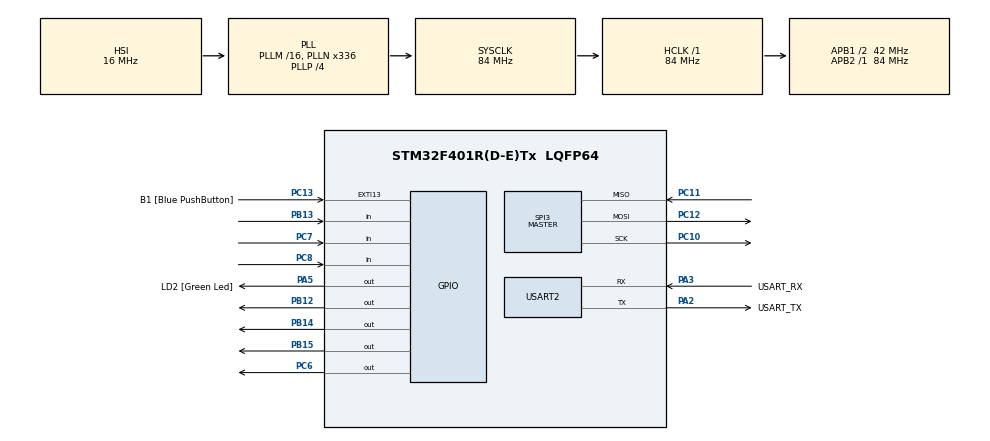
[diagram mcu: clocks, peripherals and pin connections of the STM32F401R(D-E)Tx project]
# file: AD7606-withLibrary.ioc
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Mcu.Family=STM32F4
Mcu.Name=STM32F401R(D-E)Tx
Mcu.Package=LQFP64
NVIC.EXTI15_10_IRQn=true\:0\:0\:false\:false\:true\:true\:true\:true
NVIC.PriorityGroup=NVIC_PRIORITYGROUP_0
NVIC.SPI3_IRQn=true\:0\:0\:false\:false\:true\:true\:true\:true
NVIC.TIM1_UP_TIM10_IRQn=true\:0\:0\:false\:false\:true\:true\:true\:true
NVIC.USART2_IRQn=true\:0\:0\:false\:false\:true\:true\:true\:true
PA13.GPIO_Label=TMS
PA13.Mode=Serial_Wire
PA13.Signal=SYS_JTMS-SWDIO
PA14.GPIO_Label=TCK
PA14.Mode=Serial_Wire
PA14.Signal=SYS_JTCK-SWCLK
PA2.GPIO_Label=USART_TX
PA2.GPIO_Mode=GPIO_MODE_AF_PP
PA2.GPIO_PuPd=GPIO_NOPULL
PA2.GPIO_Speed=GPIO_SPEED_FREQ_LOW
PA2.Mode=Asynchronous
PA2.Signal=USART2_TX
PA3.GPIO_Label=USART_RX
PA3.GPIO_Mode=GPIO_MODE_AF_PP
PA3.GPIO_PuPd=GPIO_NOPULL
PA3.GPIO_Speed=GPIO_SPEED_FREQ_LOW
PA3.Mode=Asynchronous
PA3.Signal=USART2_RX
PA5.GPIO_Label=LD2 [Green Led]
PA5.GPIO_Mode=GPIO_MODE_OUTPUT_PP
PA5.GPIO_PuPd=GPIO_NOPULL
PA5.GPIO_Speed=GPIO_SPEED_FREQ_LOW
PA5.Signal=GPIO_Output
PB12.Signal=GPIO_Output
PB13.Signal=GPIO_Input
PB14.Signal=GPIO_Output
PB15.Signal=GPIO_Output
PB3.GPIO_Label=SWO
PB3.Signal=SYS_JTDO-SWO
PC10.Mode=Full_Duplex_Master
PC10.Signal=SPI3_SCK
PC11.Mode=Full_Duplex_Master
PC11.Signal=SPI3_MISO
PC12.Mode=Full_Duplex_Master
PC12.Signal=SPI3_MOSI
PC13-ANTI_TAMP.GPIO_Label=B1 [Blue PushButton]
PC13-ANTI_TAMP.GPIO_ModeDefaultEXTI=GPIO_MODE_IT_FALLING
PC13-ANTI_TAMP.GPIO_PuPd=GPIO_NOPULL
PC13-ANTI_TAMP.Signal=GPXTI13
PC14-OSC32_IN.Mode=LSE-External-Oscillator
PC14-OSC32_IN.Signal=RCC_OSC32_IN
PC15-OSC32_OUT.Mode=LSE-External-Oscillator
PC15-OSC32_OUT.Signal=RCC_OSC32_OUT
PC6.Signal=GPIO_Output
PC7.Signal=GPIO_Input
PC8.Signal=GPIO_Input
PH0\ -\ OSC_IN.Mode=HSE-External-Clock-Source
PH0\ -\ OSC_IN.Signal=RCC_OSC_IN
PH1\ -\ OSC_OUT.Mode=HSE-External-Clock-Source
PH1\ -\ OSC_OUT.Signal=RCC_OSC_OUT
ProjectManager.HeapSize=0x200
ProjectManager.StackSize=0x400
ProjectManager.TargetToolchain=STM32CubeIDE
RCC.48MHZClocksFreq_Value=48000000
RCC.AHBFreq_Value=84000000
RCC.APB1CLKDivider=RCC_HCLK_DIV2
RCC.APB1Freq_Value=42000000
RCC.APB1TimFreq_Value=84000000
RCC.APB2Freq_Value=84000000
RCC.APB2TimFreq_Value=84000000
RCC.CortexFreq_Value=84000000
RCC.HCLKFreq_Value=84000000
RCC.HSE_VALUE=8000000
RCC.HSI_VALUE=16000000
RCC.PLLN=336
RCC.PLLP=RCC_PLLP_DIV4
RCC.PLLQ=7
RCC.SYSCLKFreq_VALUE=84000000
RCC.SYSCLKSource=RCC_SYSCLKSOURCE_PLLCLK
RCC.VCOOutputFreq_Value=336000000
SPI3.DataSize=SPI_DATASIZE_16BIT
SPI3.Direction=SPI_DIRECTION_2LINES
SPI3.Mode=SPI_MODE_MASTER
SPI3.VirtualType=VM_MASTER
USART2.VirtualMode=VM_ASYNC
VP_TIM10_VS_ClockSourceINT.Mode=Enable_Timer
board=NUCLEO-F401RE

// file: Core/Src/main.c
/* USER CODE BEGIN Header */
/**
  ******************************************************************************
  * @file           : main.c
  * @brief          : Main program body
  ******************************************************************************
  * @attention
  *
  * Copyright (c) 2024 STMicroelectronics.
  * All rights reserved.
  *
  * This software is licensed under terms that can be found in the LICENSE file
  * in the root directory of this software component.
  * If no LICENSE file comes with this software, it is provided AS-IS.
  *
  ******************************************************************************
  */
/* USER CODE END Header */
#include "main.h"

SPI_HandleTypeDef hspi3;

TIM_HandleTypeDef htim10;

UART_HandleTypeDef huart2;

void SystemClock_Config(void);
static void MX_GPIO_Init(void);
static void MX_USART2_UART_Init(void);
static void MX_SPI3_Init(void);
static void MX_TIM10_Init(void);

/* USER CODE BEGIN 0 */
#include "ad7606.h"
#include "stm32_spi.h"
#define BUSY_PORT GPIOC
#define BUSY_PIN GPIO_PIN_7
#define RESET_PORT GPIOC
#define RESET_PIN GPIO_PIN_6
#define CONVST_PORT GPIOB
#define CONVST_PIN GPIO_PIN_15
#define CS_PORT GPIOB
#define CS_PIN GPIO_PIN_14
#define D7_PORT GPIOC
#define D7_PIN GPIO_PIN_11
#define RD_PORT GPIOB  //PC10: SPI CLK, PC11: MISO
#define RD_PIN GPIO_PIN_12
#define D8_PORT GPIOC
#define D8_PIN GPIO_PIN_8

int twos_complement(int num, int bits);

/* USER CODE END 0 */

int main(void)
{

  /* MCU Configuration--------------------------------------------------------*/

  /* Reset of all peripherals, Initializes the Flash interface and the Systick. */
  HAL_Init();

  /* Configure the system clock */
  SystemClock_Config();

  /* Initialize all configured peripherals */
  MX_GPIO_Init();
  MX_USART2_UART_Init();
  MX_SPI3_Init();
  MX_TIM10_Init();
  /* USER CODE BEGIN 2 */
  struct no_os_gpio_init_param gpio_busy = {  // PC7
		  .port = 2,
		  .number = 7,
		  .pull = NO_OS_PULL_NONE,
		  .platform_ops = &stm32_gpio_ops
  };
  struct no_os_gpio_init_param gpio_convst = {  //PB15
		  .port = 1,
		  .number = 15,
		  .pull = NO_OS_PULL_NONE,
		  .platform_ops = &stm32_gpio_ops
  };
  struct no_os_gpio_init_param gpio_reset = {  // PC6
		  .port = 2,
		  .number = 6,
		  .pull = NO_OS_PULL_NONE,
		  .platform_ops = &stm32_gpio_ops
  };
  struct no_os_gpio_init_param chip_select = {  //PB14
  		  .port = 1,
  		  .number = 14,
  		  .pull = NO_OS_PULL_NONE,
		  .platform_ops = &stm32_gpio_ops
    };
  struct stm32_spi_init_param stm32_spi_init_param = {
		  .chip_select_port = 1,
		  .get_input_clock = HAL_RCC_GetSysClockFreq,
		  .dma_init = NULL,
		  .pwm_init = NULL,
		  .rxdma_ch = NULL,
		  .txdma_ch = NULL
  };
  struct no_os_spi_init_param spi_init_param = {
		  .chip_select = 14,
		  .bit_order = NO_OS_SPI_BIT_ORDER_MSB_FIRST,
		  .device_id = ID_AD7606_8,
		  .max_speed_hz = 40000000,  // max 40MHz
		  .mode = NO_OS_SPI_MODE_1,
		  .platform_ops = &stm32_spi_ops,
		  //.extra = &chip_select,
		  .extra = &stm32_spi_init_param
  };
  struct ad7606_range ad7606_range = {
		  .min = -5000,
		  .max = 5000,
		  .differential = false
  };

  struct ad7606_config ad7606_config = {
		  .dout_format = AD7606_1_DOUT,
		  .ext_os_clock = false,
		  .op_mode = AD7606_NORMAL,
		  .status_header = false,
  };

  //initialize device
  struct ad7606_init_param ad7606_init_param = {
		  .config = ad7606_config,
		  .device_id = ID_AD7606_8,
		  .gpio_busy = &gpio_busy,
		  .gpio_convst = &gpio_convst,
		  .gpio_reset = &gpio_reset,
		  .gpio_os0 = NULL,
		  .gpio_os1 = NULL,
		  .gpio_os2 = NULL,
		  .gpio_par_ser = NULL,
		  .gpio_range = NULL,
		  .gpio_stby_n = NULL,
		  .spi_init = spi_init_param,
		  .sw_mode = false,
		  .range_ch[0] = ad7606_range,
		  .range_ch[1] = ad7606_range,
		  .range_ch[2] = ad7606_range,
		  .range_ch[3] = ad7606_range,
		  .range_ch[4] = ad7606_range,
		  .range_ch[5] = ad7606_range,
		  .range_ch[6] = ad7606_range,
		  .range_ch[7] = ad7606_range,
		  .offset_ch[0] = 0,
		  .offset_ch[1] = 0,
		  .offset_ch[2] = 0,
		  .offset_ch[3] = 0,
		  .offset_ch[4] = 0,
		  .offset_ch[5] = 0,
		  .offset_ch[6] = 0,
		  .offset_ch[7] = 0
  };
  /* USER CODE END 2 */

  /* Infinite loop */
  /* USER CODE BEGIN WHILE */
  static struct ad7606_dev *ad7606_dev = NULL;
  //initialize device and peripherals
  int32_t init_status = ad7606_init(&ad7606_dev, &ad7606_init_param);
  if(init_status != SUCCESS){
	  return init_status;
  }
  uint32_t adc_data[8];
  while (1)
  {
	  int32_t ret = ad7606_read(ad7606_dev, adc_data);
	  if(ret<0){
		  return -1;
	  }
	  float convertedData[8];
	  for(int i=0; i<8; i++){
	  	int complementTwo = twos_complement(adc_data[i], 16);
	  	convertedData[i] = complementTwo*(5*2.5)/(32768*5);  // cambiato denominatore da *2 a *5
	  	char message_channel[60];
	  	snprintf(message_channel, sizeof(message_channel), "%d,%f\n", i+1, convertedData[i]);
	  	HAL_UART_Transmit(&huart2, (uint8_t *)message_channel, strlen(message_channel), HAL_MAX_DELAY);
	  }

	  HAL_Delay(3000);
    /* USER CODE END WHILE */

  }
}

void SystemClock_Config(void)
{
  RCC_OscInitTypeDef RCC_OscInitStruct = {0};
  RCC_ClkInitTypeDef RCC_ClkInitStruct = {0};

  /** Configure the main internal regulator output voltage
  */
  __HAL_RCC_PWR_CLK_ENABLE();
  __HAL_PWR_VOLTAGESCALING_CONFIG(PWR_REGULATOR_VOLTAGE_SCALE2);

  /** Initializes the RCC Oscillators according to the specified parameters
  * in the RCC_OscInitTypeDef structure.
  */
  RCC_OscInitStruct.OscillatorType = RCC_OSCILLATORTYPE_HSI;
  RCC_OscInitStruct.HSIState = RCC_HSI_ON;
  RCC_OscInitStruct.HSICalibrationValue = RCC_HSICALIBRATION_DEFAULT;
  RCC_OscInitStruct.PLL.PLLState = RCC_PLL_ON;
  RCC_OscInitStruct.PLL.PLLSource = RCC_PLLSOURCE_HSI;
  RCC_OscInitStruct.PLL.PLLM = 16;
  RCC_OscInitStruct.PLL.PLLN = 336;
  RCC_OscInitStruct.PLL.PLLP = RCC_PLLP_DIV4;
  RCC_OscInitStruct.PLL.PLLQ = 7;
  if (HAL_RCC_OscConfig(&RCC_OscInitStruct) != HAL_OK)
  {
    Error_Handler();
  }

  /** Initializes the CPU, AHB and APB buses clocks
  */
  RCC_ClkInitStruct.ClockType = RCC_CLOCKTYPE_HCLK|RCC_CLOCKTYPE_SYSCLK
                              |RCC_CLOCKTYPE_PCLK1|RCC_CLOCKTYPE_PCLK2;
  RCC_ClkInitStruct.SYSCLKSource = RCC_SYSCLKSOURCE_PLLCLK;
  RCC_ClkInitStruct.AHBCLKDivider = RCC_SYSCLK_DIV1;
  RCC_ClkInitStruct.APB1CLKDivider = RCC_HCLK_DIV2;
  RCC_ClkInitStruct.APB2CLKDivider = RCC_HCLK_DIV1;

  if (HAL_RCC_ClockConfig(&RCC_ClkInitStruct, FLASH_LATENCY_2) != HAL_OK)
  {
    Error_Handler();
  }
}

static void MX_SPI3_Init(void)
{

  /* SPI3 parameter configuration*/
  hspi3.Instance = SPI3;
  hspi3.Init.Mode = SPI_MODE_MASTER;
  hspi3.Init.Direction = SPI_DIRECTION_2LINES;
  hspi3.Init.DataSize = SPI_DATASIZE_16BIT;
  hspi3.Init.CLKPolarity = SPI_POLARITY_LOW;
  hspi3.Init.CLKPhase = SPI_PHASE_1EDGE;
  hspi3.Init.NSS = SPI_NSS_SOFT;
  hspi3.Init.BaudRatePrescaler = SPI_BAUDRATEPRESCALER_2;
  hspi3.Init.FirstBit = SPI_FIRSTBIT_MSB;
  hspi3.Init.TIMode = SPI_TIMODE_DISABLE;
  hspi3.Init.CRCCalculation = SPI_CRCCALCULATION_DISABLE;
  hspi3.Init.CRCPolynomial = 10;
  if (HAL_SPI_Init(&hspi3) != HAL_OK)
  {
    Error_Handler();
  }

}

static void MX_TIM10_Init(void)
{

  htim10.Instance = TIM10;
  htim10.Init.Prescaler = 0;
  htim10.Init.CounterMode = TIM_COUNTERMODE_UP;
  htim10.Init.Period = 65535;
  htim10.Init.ClockDivision = TIM_CLOCKDIVISION_DIV1;
  htim10.Init.AutoReloadPreload = TIM_AUTORELOAD_PRELOAD_DISABLE;
  if (HAL_TIM_Base_Init(&htim10) != HAL_OK)
  {
    Error_Handler();
  }

}

static void MX_USART2_UART_Init(void)
{

  huart2.Instance = USART2;
  huart2.Init.BaudRate = 115200;
  huart2.Init.WordLength = UART_WORDLENGTH_8B;
  huart2.Init.StopBits = UART_STOPBITS_1;
  huart2.Init.Parity = UART_PARITY_NONE;
  huart2.Init.Mode = UART_MODE_TX_RX;
  huart2.Init.HwFlowCtl = UART_HWCONTROL_NONE;
  huart2.Init.OverSampling = UART_OVERSAMPLING_16;
  if (HAL_UART_Init(&huart2) != HAL_OK)
  {
    Error_Handler();
  }

}

static void MX_GPIO_Init(void)
{
  GPIO_InitTypeDef GPIO_InitStruct = {0};

  /* GPIO Ports Clock Enable */
  __HAL_RCC_GPIOC_CLK_ENABLE();
  __HAL_RCC_GPIOH_CLK_ENABLE();
  __HAL_RCC_GPIOA_CLK_ENABLE();
  __HAL_RCC_GPIOB_CLK_ENABLE();

  /*Configure GPIO pin Output Level */
  HAL_GPIO_WritePin(LD2_GPIO_Port, LD2_Pin, GPIO_PIN_RESET);

  /*Configure GPIO pin Output Level */
  HAL_GPIO_WritePin(GPIOB, GPIO_PIN_12|GPIO_PIN_14|GPIO_PIN_15, GPIO_PIN_RESET);

  /*Configure GPIO pin Output Level */
  HAL_GPIO_WritePin(GPIOC, GPIO_PIN_6, GPIO_PIN_RESET);

  /*Configure GPIO pin : B1_Pin */
  GPIO_InitStruct.Pin = B1_Pin;
  GPIO_InitStruct.Mode = GPIO_MODE_IT_FALLING;
  GPIO_InitStruct.Pull = GPIO_NOPULL;
  HAL_GPIO_Init(B1_GPIO_Port, &GPIO_InitStruct);

  /*Configure GPIO pin : LD2_Pin */
  GPIO_InitStruct.Pin = LD2_Pin;
  GPIO_InitStruct.Mode = GPIO_MODE_OUTPUT_PP;
  GPIO_InitStruct.Pull = GPIO_NOPULL;
  GPIO_InitStruct.Speed = GPIO_SPEED_FREQ_LOW;
  HAL_GPIO_Init(LD2_GPIO_Port, &GPIO_InitStruct);

  /*Configure GPIO pins : PB12 PB14 PB15 */
  GPIO_InitStruct.Pin = GPIO_PIN_12|GPIO_PIN_14|GPIO_PIN_15;
  GPIO_InitStruct.Mode = GPIO_MODE_OUTPUT_PP;
  GPIO_InitStruct.Pull = GPIO_NOPULL;
  GPIO_InitStruct.Speed = GPIO_SPEED_FREQ_LOW;
  HAL_GPIO_Init(GPIOB, &GPIO_InitStruct);

  /*Configure GPIO pin : PB13 */
  GPIO_InitStruct.Pin = GPIO_PIN_13;
  GPIO_InitStruct.Mode = GPIO_MODE_INPUT;
  GPIO_InitStruct.Pull = GPIO_NOPULL;
  HAL_GPIO_Init(GPIOB, &GPIO_InitStruct);

  /*Configure GPIO pin : PC6 */
  GPIO_InitStruct.Pin = GPIO_PIN_6;
  GPIO_InitStruct.Mode = GPIO_MODE_OUTPUT_PP;
  GPIO_InitStruct.Pull = GPIO_NOPULL;
  GPIO_InitStruct.Speed = GPIO_SPEED_FREQ_LOW;
  HAL_GPIO_Init(GPIOC, &GPIO_InitStruct);

  /*Configure GPIO pins : PC7 PC8 */
  GPIO_InitStruct.Pin = GPIO_PIN_7|GPIO_PIN_8;
  GPIO_InitStruct.Mode = GPIO_MODE_INPUT;
  GPIO_InitStruct.Pull = GPIO_NOPULL;
  HAL_GPIO_Init(GPIOC, &GPIO_InitStruct);

  /* EXTI interrupt init*/
  HAL_NVIC_SetPriority(EXTI15_10_IRQn, 0, 0);
  HAL_NVIC_EnableIRQ(EXTI15_10_IRQn);

}

/* USER CODE BEGIN 4 */
int twos_complement(int num, int bits) {
    // Calculate the mask for the given number of bits
    int mask = (1 << (bits - 1)) - 1;  // Create a mask of all 1s for given number of bits

    // Check if num is negative
    if (num & (1 << (bits - 1))) {
        // Negative number: apply two's complement
        return (num & mask) - (1 << (bits - 1));
    } else {
        // Positive number or zero: two's complement is the number itself
        return num;
    }
}
/* USER CODE END 4 */

void Error_Handler(void)
{
  __disable_irq();
  while (1)
  {
  }
}
